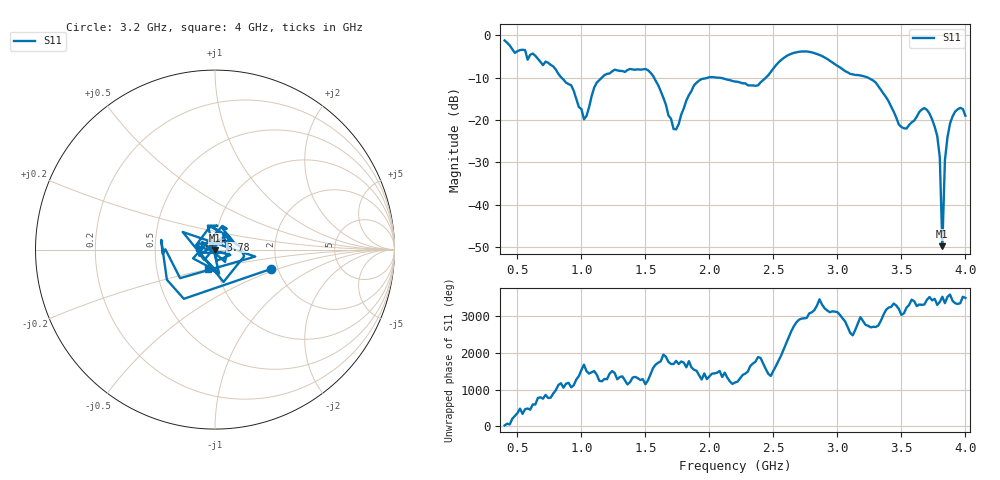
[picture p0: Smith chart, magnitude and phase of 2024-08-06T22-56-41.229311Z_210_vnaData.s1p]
!Created with skrf (http://scikit-rf.org).
# Hz S RI R 50.0
!freq ReS11 ImS11
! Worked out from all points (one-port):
!   181 points, 400 MHz to 4 GHz, reference 50 ohm
!   lowest |S11| = -49.8 dB at 3.82 GHz (marker M1), VSWR 1.01, Z = 50.1 - j0.318 ohm
!   |S11| at or under -10 dB: 1.568 GHz to 1.988 GHz (420.2 MHz wide, 23.6 % of centre); 2.075 GHz to 2.441 GHz (365.5 MHz wide, 16.2 % of centre); 3.24 GHz to end of sweep (the widest 3 of 4)
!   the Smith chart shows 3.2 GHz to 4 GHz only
!   S11 on the Smith chart (normalised r, x): 3.2 GHz: 1.84, -0.45; 3.78 GHz: 1.06, +0.12; 4 GHz: 0.91, -0.19
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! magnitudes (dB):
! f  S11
! 400 MHz  -1.2
! 860 MHz  -10.4
! 920 MHz  -11.8
! 1.02 GHz  -19.8
! 1.12 GHz  -11.2
! 1.3 GHz  -8.4
! 1.52 GHz  -8.2
! 1.6 GHz  -11.8
! 1.72 GHz  -22.1
! 1.76 GHz  -21.0
! 1.92 GHz  -10.7
! 2.2 GHz  -10.9
! 2.38 GHz  -11.8
! 2.66 GHz  -4.1
! 2.86 GHz  -4.6
! 3.1 GHz  -9.1
! 3.2 GHz  -9.6
! 3.3 GHz  -11.2
! 3.48 GHz  -21.0
! 3.56 GHz  -21.2
! 3.68 GHz  -17.2
! 3.78 GHz  -23.8
! 3.8 GHz  -28.8
! 3.82 GHz  -49.8
! 3.84 GHz  -29.5
! 3.86 GHz  -24.1
! 3.92 GHz  -18.0
! 4 GHz  -19.0
